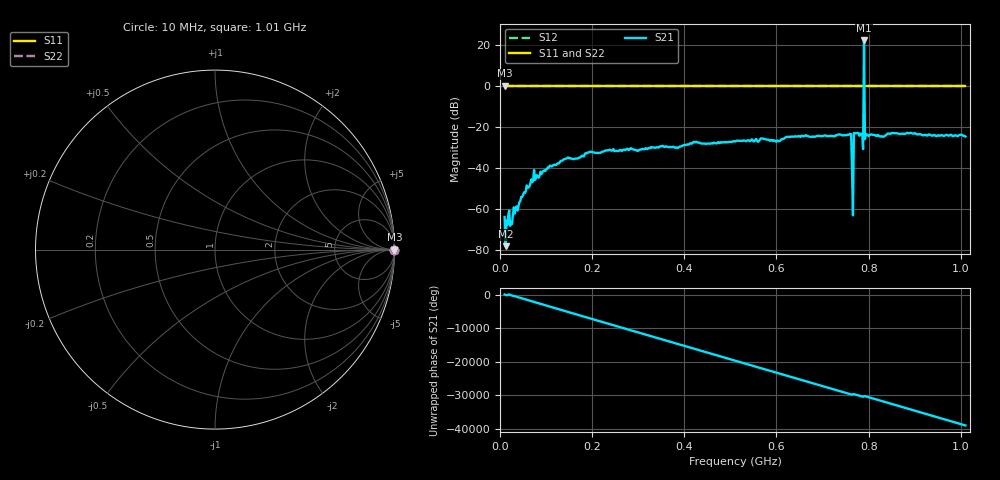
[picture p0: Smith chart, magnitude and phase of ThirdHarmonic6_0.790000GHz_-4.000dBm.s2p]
! 8/16/2025 2:21:04 AM
! C:\ANRITSUVNA\TEMP\TEMP.S2P
! CHANNEL.1
! TR.MEASUREMENT
! RAW.DATA
! RF.CORRECTION.OFF
! AVERAGING.OFF
! IF.BANDWIDTH: 5KHZ
! SWEEPTYPE:  FREQ.SWEEP(Linear)
! Reference Plane Port Info
! PORT:  PORT1  PORT2
! DISTANCE:  0  m  0  m
! TIME:  0  s  0  s
! PHASE.OFFSET:  0  deg.  0  deg.
! LOSS:  0  dB  0  dB
! REF.LOSS:  0  dB  0  dB
! REF.FREQ:  0  Hz  0  Hz
! Power Info
! POWER:  -20  dBm  -20  dBm
! EFF.POWER:  -20  dBm  -20  dBm
! SOURCE.ATTEN:  0  dB  0  dB
! TEST.ATTEN:  0  dB  0  dB
# GHZ S RI R 50.0
! FREQ.GHZ  S11RE  S11IM  S21RE  S21IM  S12RE  S12IM  S22RE  S22IM
!; PortSelection: Port_12
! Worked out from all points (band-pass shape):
!   501 points, 10 MHz to 1.01 GHz, reference 50 ohm
!   highest |S21| = 22.16 dB at 790 MHz (marker M1); lowest = -78.3 dB at 12 MHz (marker M2)
!   |S21| within 3 dB of the highest: 789.8869 MHz to 790.1246 MHz (237.6 kHz wide, 0.0301 % of centre)
!   lowest |S11| = 0.0 dB at 10 MHz (marker M3)
!   |S11| at or under -10 dB: nowhere
!   |S22| runs from 0.0 to 0.0 dB; largest |S21 - S12| = 13
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0.01  1 0  -0.000508 0.000364  1 0  1 0
0.012  1 0  0.000121 1.13e-05  1 0  1 0
0.026  1 0  -0.000373 -0.000197  1 0  1 0
0.07  1 0  -0.0012 -0.00425  1 0  1 0
0.142  1 0  -0.0151 -0.00636  1 0  1 0
0.178  1 0  -0.0192 -0.00473  1 0  1 0
0.344  1 0  0.0305 -0.00512  1 0  1 0
0.51  1 0  -0.0416 0.0125  1 0  1 0
0.678  1 0  -0.0236 -0.0526  1 0  1 0
0.758  1 0  -0.00218 -0.0652  1 0  1 0
0.76  1 0  -0.0664 -0.00767  1 0  1 0
0.762  1 0  -0.015 0.0642  1 0  1 0
0.768  1 0  -0.054 -0.0453  1 0  1 0
0.77  1 0  -0.0523 0.0456  1 0  1 0
0.772  1 0  0.0364 0.0588  1 0  1 0
0.784  1 0  0.0262 -0.0629  1 0  1 0
0.786  1 0  -0.0585 -0.0351  1 0  1 0
0.79  1 0  3.283 -12.4  1 0  1 0
0.794  1 0  -0.0249 -0.0613  1 0  1 0
0.796  1 0  -0.0627 0.0131  1 0  1 0
0.844  1 0  0.0489 0.0475  1 0  1 0
1.01  1 0  -0.0557 -0.0154  1 0  1 0
